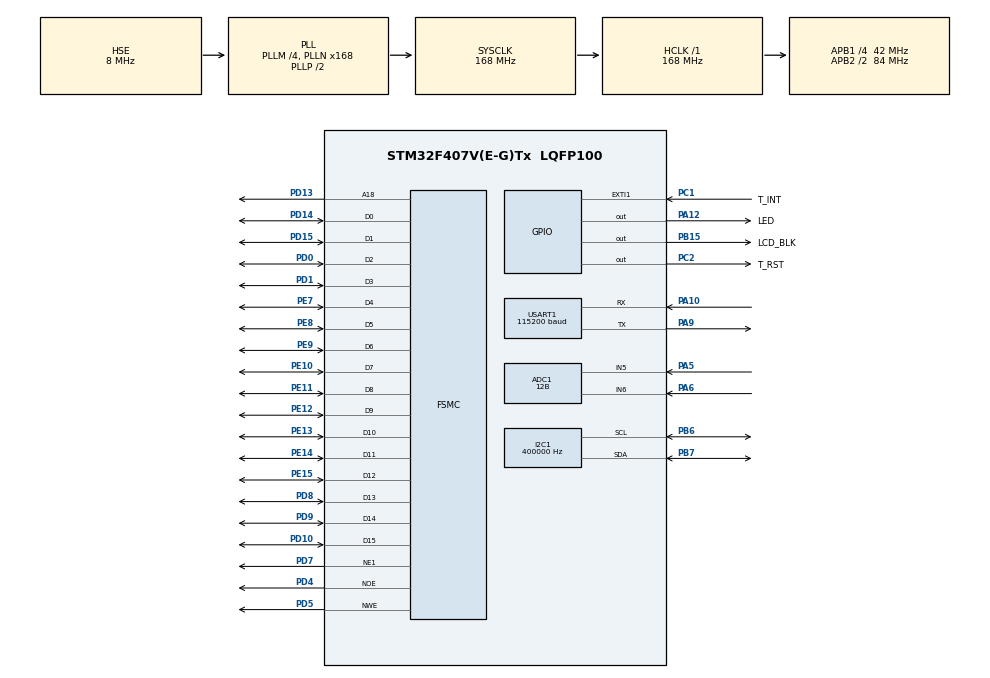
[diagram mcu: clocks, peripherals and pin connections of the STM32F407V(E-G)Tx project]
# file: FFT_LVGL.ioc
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ADC1.Channel-0\#ChannelRegularConversion=ADC_CHANNEL_5
ADC1.Channel-2\#ChannelRegularConversion=ADC_CHANNEL_6
ADC1.Channel-IN5=ADC_CHANNEL_5
ADC1.Channel-IN6=ADC_CHANNEL_6
ADC1.ClockPrescaler=ADC_CLOCK_SYNC_PCLK_DIV4
ADC1.ContinuousConvMode=DISABLE
ADC1.DMAContinuousRequests=ENABLE
ADC1.DataAlign=ADC_DATAALIGN_RIGHT
ADC1.DiscontinuousConvMode=DISABLE
ADC1.EOCSelection=ADC_EOC_SEQ_CONV
ADC1.EnableAnalogWatchDog=false
ADC1.ExternalTrigConv=ADC_EXTERNALTRIGCONV_T8_TRGO
ADC1.ExternalTrigConvEdge=ADC_EXTERNALTRIGCONVEDGE_RISING
ADC1.InjNumberOfConversion=0
ADC1.Mode=__NULL
ADC1.NbrOfConversion=2
ADC1.Rank-0\#ChannelRegularConversion=1
ADC1.Rank-2\#ChannelRegularConversion=2
ADC1.Resolution=ADC_RESOLUTION_12B
ADC1.SamplingTime-0\#ChannelRegularConversion=ADC_SAMPLETIME_15CYCLES
ADC1.SamplingTime-2\#ChannelRegularConversion=ADC_SAMPLETIME_15CYCLES
ADC1.ScanConvMode=ENABLE
ADC1.master=1
Dma.ADC1.0.Direction=DMA_PERIPH_TO_MEMORY
Dma.ADC1.0.FIFOMode=DMA_FIFOMODE_DISABLE
Dma.ADC1.0.Instance=DMA2_Stream0
Dma.ADC1.0.MemDataAlignment=DMA_MDATAALIGN_WORD
Dma.ADC1.0.MemInc=DMA_MINC_ENABLE
Dma.ADC1.0.Mode=DMA_CIRCULAR
Dma.ADC1.0.PeriphDataAlignment=DMA_PDATAALIGN_WORD
Dma.ADC1.0.PeriphInc=DMA_PINC_DISABLE
Dma.ADC1.0.Priority=DMA_PRIORITY_MEDIUM
Dma.MEMTOMEM.1.Direction=DMA_MEMORY_TO_MEMORY
Dma.MEMTOMEM.1.FIFOMode=DMA_FIFOMODE_DISABLE
Dma.MEMTOMEM.1.Instance=DMA2_Stream7
Dma.MEMTOMEM.1.MemDataAlignment=DMA_MDATAALIGN_BYTE
Dma.MEMTOMEM.1.MemInc=DMA_MINC_ENABLE
Dma.MEMTOMEM.1.Mode=DMA_NORMAL
Dma.MEMTOMEM.1.PeriphDataAlignment=DMA_PDATAALIGN_BYTE
Dma.MEMTOMEM.1.PeriphInc=DMA_PINC_ENABLE
Dma.MEMTOMEM.1.Priority=DMA_PRIORITY_LOW
Dma.Request0=ADC1
Dma.Request1=MEMTOMEM
FSMC.AccessMode1=FSMC_ACCESS_MODE_A
FSMC.AddressSetupTime1=15
FSMC.BusTurnAroundDuration1=0
FSMC.DataSetupTime1=60
FSMC.ExtendedAccessMode1=FSMC_ACCESS_MODE_A
FSMC.ExtendedAddressSetupTime1=9
FSMC.ExtendedBusTurnAroundDuration1=0
FSMC.ExtendedDataSetupTime1=8
FSMC.ExtendedMode1=FSMC_EXTENDED_MODE_ENABLE
FSMC.NSBank1=FSMC_NORSRAM_BANK1
FSMC.WriteOperation1=FSMC_WRITE_OPERATION_ENABLE
I2C1.AddressingMode=I2C_ADDRESSINGMODE_7BIT
I2C1.ClockSpeed=400000
I2C1.DualAddressMode=I2C_DUALADDRESS_DISABLE
I2C1.DutyCycle=I2C_DUTYCYCLE_2
I2C1.GeneralCallMode=I2C_GENERALCALL_DISABLE
I2C1.I2C_Mode=I2C_Fast
I2C1.NoStretchMode=I2C_NOSTRETCH_DISABLE
I2C1.OwnAddress=0
Mcu.Family=STM32F4
Mcu.Name=STM32F407V(E-G)Tx
Mcu.Package=LQFP100
NVIC.ADC_IRQn=true\:3\:0\:true\:false\:true\:true\:true\:true
NVIC.DMA2_Stream0_IRQn=true\:0\:0\:true\:false\:true\:false\:true\:true
NVIC.DMA2_Stream7_IRQn=true\:0\:0\:true\:false\:true\:true\:true\:true
NVIC.EXTI1_IRQn=true\:1\:0\:true\:false\:true\:true\:true\:true
NVIC.PriorityGroup=NVIC_PRIORITYGROUP_4
NVIC.TIM1_UP_TIM10_IRQn=true\:1\:0\:true\:false\:true\:true\:true\:true
PA10.Mode=Asynchronous
PA10.Signal=USART1_RX
PA12.GPIO_Label=LED
PA12.Signal=GPIO_Output
PA13.Mode=Serial_Wire
PA13.Signal=SYS_JTMS-SWDIO
PA14.Mode=Serial_Wire
PA14.Signal=SYS_JTCK-SWCLK
PA5.Signal=ADCx_IN5
PA6.Signal=ADCx_IN6
PA9.Mode=Asynchronous
PA9.Signal=USART1_TX
PB15.GPIO_Label=LCD_BLK
PB15.GPIO_PuPd=GPIO_PULLUP
PB15.GPIO_Speed=GPIO_SPEED_FREQ_LOW
PB15.Signal=GPIO_Output
PB6.GPIO_Pu=GPIO_PULLUP
PB6.Mode=I2C
PB6.Signal=I2C1_SCL
PB7.GPIO_Pu=GPIO_PULLUP
PB7.Mode=I2C
PB7.Signal=I2C1_SDA
PC1.GPIO_Label=T_INT
PC1.GPIO_ModeDefaultEXTI=GPIO_MODE_IT_FALLING
PC1.GPIO_PuPd=GPIO_NOPULL
PC1.Signal=GPXTI1
PC2.GPIO_Label=T_RST
PC2.GPIO_PuPd=GPIO_PULLUP
PC2.PinState=GPIO_PIN_SET
PC2.Signal=GPIO_Output
PD0.Mode=16b-d1
PD0.Signal=FSMC_D2
PD1.Mode=16b-d1
PD1.Signal=FSMC_D3
PD10.Mode=16b-d1
PD10.Signal=FSMC_D15
PD13.Mode=A18_1
PD13.Signal=FSMC_A18
PD14.Mode=16b-d1
PD14.Signal=FSMC_D0
PD15.Mode=16b-d1
PD15.Signal=FSMC_D1
PD4.Mode=Lcd1
PD4.Signal=FSMC_NOE
PD5.Mode=Lcd1
PD5.Signal=FSMC_NWE
PD7.Mode=NorPsramChipSelect1_1
PD7.Signal=FSMC_NE1
PD8.Mode=16b-d1
PD8.Signal=FSMC_D13
PD9.Mode=16b-d1
PD9.Signal=FSMC_D14
PE10.Mode=16b-d1
PE10.Signal=FSMC_D7
PE11.Mode=16b-d1
PE11.Signal=FSMC_D8
PE12.Mode=16b-d1
PE12.Signal=FSMC_D9
PE13.Mode=16b-d1
PE13.Signal=FSMC_D10
PE14.Mode=16b-d1
PE14.Signal=FSMC_D11
PE15.Mode=16b-d1
PE15.Signal=FSMC_D12
PE7.Mode=16b-d1
PE7.Signal=FSMC_D4
PE8.Mode=16b-d1
PE8.Signal=FSMC_D5
PE9.Mode=16b-d1
PE9.Signal=FSMC_D6
PH0-OSC_IN.Mode=HSE-External-Oscillator
PH0-OSC_IN.Signal=RCC_OSC_IN
PH1-OSC_OUT.Mode=HSE-External-Oscillator
PH1-OSC_OUT.Signal=RCC_OSC_OUT
ProjectManager.HeapSize=0x3500
ProjectManager.StackSize=0x2200
ProjectManager.TargetToolchain=MDK-ARM V5.32
RCC.48MHZClocksFreq_Value=84000000
RCC.AHBFreq_Value=168000000
RCC.APB1CLKDivider=RCC_HCLK_DIV4
RCC.APB1Freq_Value=42000000
RCC.APB1TimFreq_Value=84000000
RCC.APB2CLKDivider=RCC_HCLK_DIV2
RCC.APB2Freq_Value=84000000
RCC.APB2TimFreq_Value=168000000
RCC.CortexFreq_Value=168000000
RCC.FLatency=FLASH_LATENCY_5
RCC.HCLKFreq_Value=168000000
RCC.HSE_VALUE=8000000
RCC.HSI_VALUE=16000000
RCC.LSE_VALUE=32768
RCC.PLLM=4
RCC.PLLN=168
RCC.PLLSourceVirtual=RCC_PLLSOURCE_HSE
RCC.SYSCLKFreq_VALUE=168000000
RCC.SYSCLKSource=RCC_SYSCLKSOURCE_PLLCLK
RCC.VCOOutputFreq_Value=336000000
SH.ADCx_IN5.0=ADC1_IN5,IN5
SH.ADCx_IN6.0=ADC1_IN6,IN6
STMicroelectronics.X-CUBE-ALGOBUILD.1.4.0.LibraryCcDSPOoLibraryJjDSPOoLibrary=true
TIM1.AutoReloadPreload=TIM_AUTORELOAD_PRELOAD_ENABLE
TIM1.ClockDivision=TIM_CLOCKDIVISION_DIV1
TIM1.CounterMode=TIM_COUNTERMODE_UP
TIM1.Period=1000-1
TIM1.Prescaler=168-1
TIM1.RepetitionCounter=0
TIM1.TIM_MasterOutputTrigger=TIM_TRGO_RESET
TIM1.TIM_MasterSlaveMode=TIM_MASTERSLAVEMODE_DISABLE
TIM8.AutoReloadPreload=TIM_AUTORELOAD_PRELOAD_ENABLE
TIM8.ClockDivision=TIM_CLOCKDIVISION_DIV1
TIM8.CounterMode=TIM_COUNTERMODE_UP
TIM8.Period=840-1
TIM8.Prescaler=8-1
TIM8.RepetitionCounter=0
TIM8.TIM_MasterOutputTrigger=TIM_TRGO_UPDATE
TIM8.TIM_MasterSlaveMode=TIM_MASTERSLAVEMODE_DISABLE
USART1.BaudRate=115200
USART1.Mode=MODE_TX_RX
USART1.OverSampling=UART_OVERSAMPLING_16
USART1.Parity=PARITY_NONE
USART1.StopBits=STOPBITS_1
USART1.VirtualMode=VM_ASYNC
USART1.WordLength=WORDLENGTH_8B
VP_STMicroelectronics.X-CUBE-ALGOBUILD_VS_DSPOoLibraryJjLibrary_1.4.0_1.4.0.Mode=DSPOoLibraryJjLibrary
VP_TIM1_VS_ClockSourceINT.Mode=Internal
VP_TIM8_VS_ClockSourceINT.Mode=Internal
board=custom

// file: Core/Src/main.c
/* USER CODE BEGIN Header */
/**
  ******************************************************************************
  * @file           : main.c
  * @brief          : Main program body
  ******************************************************************************
  * @attention
  *
  * Copyright (c) 2025 STMicroelectronics.
  * All rights reserved.
  *
  * This software is licensed under terms that can be found in the LICENSE file
  * in the root directory of this software component.
  * If no LICENSE file comes with this software, it is provided AS-IS.
  *
  ******************************************************************************
  */
/* USER CODE END Header */
#include "main.h"
#include "adc.h"
#include "dma.h"
#include "i2c.h"
#include "tim.h"
#include "usart.h"
#include "gpio.h"
#include "fsmc.h"

/* USER CODE BEGIN Includes */
#include <stdio.h>

#include "lcd.h"
#include "touch.h"
#include "measure.h"

#include "lvgl.h"
#include "lv_port_disp.h"
#include "lv_port_indev.h"
#include "gui_guider.h"
#include "events_init.h"
/* USER CODE END Includes */

/* USER CODE BEGIN PV */
lv_ui guider_ui;
uint32_t adc_buffer[20];
uint8_t esp8266_buf[256];
float freamp[60];// 存放谐波数据

uint8_t adc_flag=0,timer_flag=0;

extern rms_type AC_rms;
extern FFT_DATA fft;
float frequency;
/* USER CODE END PV */

void SystemClock_Config(void);

int main(void)
{

  /* USER CODE BEGIN 1 */
	uint16_t   freamplen; // freamp���ȵ�һ��
	float i =0.0f;
  /* USER CODE END 1 */

  /* MCU Configuration--------------------------------------------------------*/

  /* Reset of all peripherals, Initializes the Flash interface and the Systick. */
  HAL_Init();

  /* Configure the system clock */
  SystemClock_Config();

  /* Initialize all configured peripherals */
  MX_GPIO_Init();
  MX_DMA_Init();
  MX_FSMC_Init();
  MX_I2C1_Init();
  MX_USART1_UART_Init();
  MX_ADC1_Init();
  MX_TIM8_Init();
  MX_TIM1_Init();
  /* USER CODE BEGIN 2 */
	HAL_TIM_Base_Start(&htim8);
  HAL_TIM_Base_Start_IT(&htim1);
  HAL_ADC_Start_DMA(&hadc1,adc_buffer,20);
//  HAL_UARTEx_ReceiveToIdle_DMA(&huart2,esp8266_buf,256);

	TP_Init();
  LCD_Init();
	lv_init();
  lv_port_disp_init();
  lv_port_indev_init();
  setup_ui(&guider_ui);
  events_init(&guider_ui);
	HAL_Delay(1000);

  /* USER CODE END 2 */

  /* Infinite loop */
  /* USER CODE BEGIN WHILE */
  while (1)
  {
    char buf[32];
		HAL_Delay(2000); // 等待采样完成
    sprintf(buf, "%.2fV", AC_rms.Vin_rms);
    lv_label_set_text(guider_ui.screen_voltage, buf);
//    sprintf(buf, "%.2fA", AC_rms.Iin_rms*0.5);
//    lv_label_set_text(guider_ui.screen_current, buf);
		sprintf(buf, "%.2fHz", freamp[0]);
		lv_label_set_text(guider_ui.screen_power, buf);
			if(fft.thd>47&&fft.thd<50)
			{
				sprintf(buf, "%.2f%%", fft.thd);
				lv_label_set_text(guider_ui.screen_THD, buf);
				lv_obj_set_style_text_color(guider_ui.screen_status, lv_color_hex(0xff3030), LV_PART_MAIN|LV_STATE_DEFAULT);
				lv_label_set_text(guider_ui.screen_status, "warning");
			}
			else if(fft.thd<4)
			{
			lv_obj_set_style_text_color(guider_ui.screen_status, lv_color_hex(0x00ff1d), LV_PART_MAIN|LV_STATE_DEFAULT);
			lv_label_set_text(guider_ui.screen_status, "nomal   ");
			}

//		if (AC_rms.Iin_rms*0.5>0.1)
//		{
//			if(i<0.04)
//			{
//				sprintf(buf, "%.2f", 0.89f+i);
//				lv_label_set_text(guider_ui.screen_factor, buf);
//			}
//			else i=0;
//			i+= 0.01f;
//		}
//		else
//		{
//			sprintf(buf, "%.2f", 0.00f);
//			lv_label_set_text(guider_ui.screen_factor, buf);
//		}

		if(fft.flag){
		// 进行1024点快速傅里叶变换
		arm_cfft_f32(&arm_cfft_sR_f32_len1024,fft.inputbuf,0,1);
		// 将复数频谱转换为幅度谱，输出到fft.outputbuf中
		arm_cmplx_mag_f32(fft.inputbuf, fft.outputbuf, SAMPLE_LEN);
		// 调用fft_getpeak函数提取频谱中的峰值点，并估算对应频率及幅值
		freamplen = fft_getpeak(fft.inputbuf + 2, fft.outputbuf + 1, freamp, SAMPLE_LEN/2 - 1, 8, 4, 0.02);
		//freamplen = fft_getpeak(fft.inputbuf, fft.outputbuf + 1, freamp, SAMPLE_LEN/2, 10, 5, 0.02);
		fft.thd = compute_thd(freamp, freamplen);
		for(int i = 0;i<freamplen;i++)
		{
			uint8_t index=0;
			index =freamp[3*i]/49-1;
			fft.harmonic[index] = freamp[3*i+1]/freamp[1]*100;
		}

	// 打印每个频点的幅值
		for(int i=0;i<SAMPLE_LEN/2;i++)
		{
			printf("%.3f\n",fft.outputbuf[i]);
		}
		for(int i = 0;i < 20;++i)
    {
        lv_chart_set_next_value(guider_ui.screen_harmonic, guider_ui.screen_harmonic_0, (lv_coord_t)fft.harmonic[i]);
    }
		memset(fft.inputbuf, 0, sizeof(fft.inputbuf));
		memset(fft.outputbuf, 0, sizeof(fft.outputbuf));

		fft.flag = 0;
		fft.index = 0;

	}
    /* USER CODE END WHILE */

  }
}

void SystemClock_Config(void)
{
  RCC_OscInitTypeDef RCC_OscInitStruct = {0};
  RCC_ClkInitTypeDef RCC_ClkInitStruct = {0};

  /** Configure the main internal regulator output voltage
  */
  __HAL_RCC_PWR_CLK_ENABLE();
  __HAL_PWR_VOLTAGESCALING_CONFIG(PWR_REGULATOR_VOLTAGE_SCALE1);

  /** Initializes the RCC Oscillators according to the specified parameters
  * in the RCC_OscInitTypeDef structure.
  */
  RCC_OscInitStruct.OscillatorType = RCC_OSCILLATORTYPE_HSE;
  RCC_OscInitStruct.HSEState = RCC_HSE_ON;
  RCC_OscInitStruct.PLL.PLLState = RCC_PLL_ON;
  RCC_OscInitStruct.PLL.PLLSource = RCC_PLLSOURCE_HSE;
  RCC_OscInitStruct.PLL.PLLM = 4;
  RCC_OscInitStruct.PLL.PLLN = 168;
  RCC_OscInitStruct.PLL.PLLP = RCC_PLLP_DIV2;
  RCC_OscInitStruct.PLL.PLLQ = 4;
  if (HAL_RCC_OscConfig(&RCC_OscInitStruct) != HAL_OK)
  {
    Error_Handler();
  }

  /** Initializes the CPU, AHB and APB buses clocks
  */
  RCC_ClkInitStruct.ClockType = RCC_CLOCKTYPE_HCLK|RCC_CLOCKTYPE_SYSCLK
                              |RCC_CLOCKTYPE_PCLK1|RCC_CLOCKTYPE_PCLK2;
  RCC_ClkInitStruct.SYSCLKSource = RCC_SYSCLKSOURCE_PLLCLK;
  RCC_ClkInitStruct.AHBCLKDivider = RCC_SYSCLK_DIV1;
  RCC_ClkInitStruct.APB1CLKDivider = RCC_HCLK_DIV4;
  RCC_ClkInitStruct.APB2CLKDivider = RCC_HCLK_DIV2;

  if (HAL_RCC_ClockConfig(&RCC_ClkInitStruct, FLASH_LATENCY_5) != HAL_OK)
  {
    Error_Handler();
  }
}

/* USER CODE BEGIN 4 */
void HAL_ADC_ConvCpltCallback(ADC_HandleTypeDef* hadc)
{
  if (hadc == &hadc1)
  {
		calculate_rms();
		//printf("%.2f,%.2f\n",get_acv_in(),get_aci_in());
  }
}

/**
 * @brief ??????,??????
 */
void HAL_GPIO_EXTI_Callback(uint16_t GPIO_Pin)
{
  if (GPIO_Pin == T_INT_Pin) {
    tp_dev.scan(0);
  }
}

/**
 * @brief ???1 1ms??,lvgl??,?5ms lvgl??, ?250ms???????
 */
void HAL_TIM_PeriodElapsedCallback(TIM_HandleTypeDef *htim) {
  if (htim->Instance == TIM1) {
    timer_flag++;
    if(timer_flag % 5 == 0) {
      lv_task_handler();
    }
    if (timer_flag >= 250) {
      HAL_GPIO_TogglePin(LED_GPIO_Port,LED_Pin);
      timer_flag = 0;
    }
    lv_tick_inc(1);
  }
}

//void HAL_UARTEx_RxEventCallback(UART_HandleTypeDef *huart, uint16_t Size)
//{
//  if(huart == &huart2)
//  {
//    char buffer[256];
//    sprintf(buffer, "%s", esp8266_buf);
//    lv_label_set_text(guider_ui.screen_result,buffer);
//    HAL_UARTEx_ReceiveToIdle_DMA(&huart2,esp8266_buf,256);
//  }
//}
/* USER CODE END 4 */

void Error_Handler(void)
{
  __disable_irq();
  while (1)
  {
  }
}
